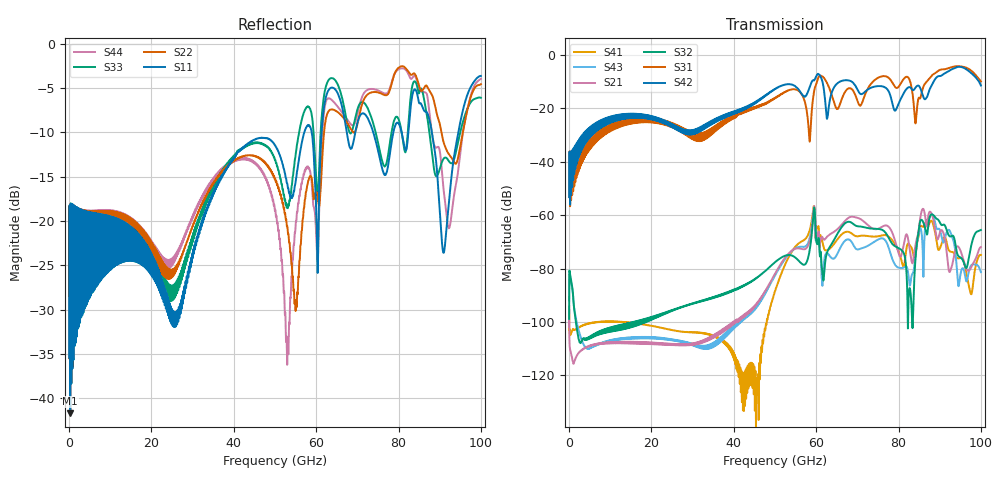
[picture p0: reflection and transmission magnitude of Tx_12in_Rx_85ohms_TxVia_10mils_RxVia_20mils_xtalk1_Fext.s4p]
! Info: Touchstone file created by Circ.  Input file=Tx_12in_Rx_85ohms_TxVia_10mils_RxVia_20mils.circ
# Hz S RI R 50
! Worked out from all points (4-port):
!   10000 points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, 10 MHz to 100 GHz, reference 50 ohm
!   strongest paths, dB at 10 MHz, 25.01 GHz, 50.01 GHz, 75.01 GHz, 100 GHz:
!     S42: -53.2, -26.0, -12.8, -11.7, -11.5
!     S31: -53.3, -25.7, -16.2, -8.6, -9.9
!     S32: -98.9, -95.9, -77.6, -65.2, -65.6
!     S21: -95.0, -108.5, -81.9, -65.2, -71.9
!     S43: -92.0, -106.9, -82.5, -69.2, -81.3
!     S41: -94.2, -103.0, -88.5, -67.9, -74.9
!   lowest |S11| = -41.7 dB at 260 MHz (marker M1), VSWR 1.02, Z = 49.2 + j0.217 ohm
!   |S11| at or under -10 dB: start of sweep to 57.13 GHz; 73.86 GHz to 78.74 GHz (4.881 GHz wide, 6.4 % of centre); 88.09 GHz to 94.52 GHz (6.436 GHz wide, 7.05 % of centre) (the widest 3 of 6)
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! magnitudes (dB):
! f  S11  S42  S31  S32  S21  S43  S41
! 10 MHz  -35.4  -53.2  -53.3  -98.9  -95.0  -92.0  -94.2
! 260 MHz  -41.7  -50.1  -50.2  -82.3  -110.4  -83.3  -104.9
! 43.59 GHz  -11.2  -19.4  -20.8  -85.3  -96.0  -96.7  -117.6
! 53.07 GHz  -16.1  -11.0  -13.4  -75.0  -74.8  -75.1  -76.5
! 83.47 GHz  -5.6  -13.2  -15.3  -100.3  -77.7  -81.8  -73.8
! 88.05 GHz  -9.9  -11.4  -7.8  -59.7  -59.5  -59.8  -62.2
! 100 GHz  -3.6  -11.5  -9.9  -65.6  -71.9  -81.3  -74.9
